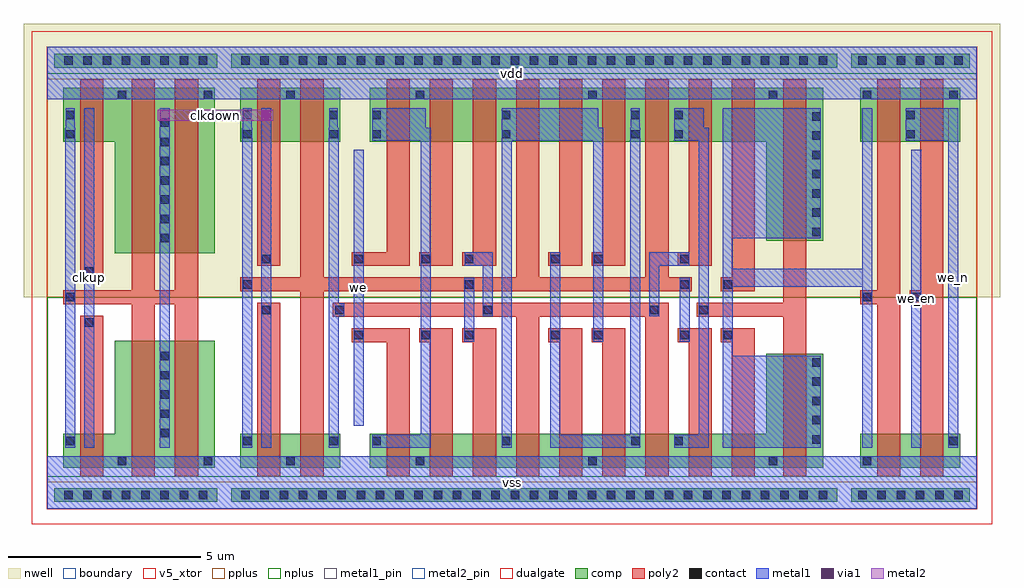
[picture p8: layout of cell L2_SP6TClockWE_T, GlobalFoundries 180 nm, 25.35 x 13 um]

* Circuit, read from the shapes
.subckt L2_SP6TClockWE_T clkdown clkup vdd vss we we_en we_n
XM1 vss clkup n1 vss nfet_05v0 w=0.88u l=0.6u
XM2 clkdown n1 vss vss nfet_05v0 w=3.295u l=0.6u m=2
XM3 vss clkdown n2 vss nfet_05v0 w=0.88u l=0.6u
XM4 n3 n2 vss vss nfet_05v0 w=0.88u l=0.6u
XM5 vss we n4 vss nfet_05v0 w=0.88u l=0.6u
XM6 n5 n4 vss vss nfet_05v0 w=0.88u l=0.6u
XM7 n6 n2 n5 vss nfet_05v0 w=0.88u l=0.6u
XM8 n7 n3 n6 vss nfet_05v0 w=0.88u l=0.6u
XM9 vss n8 n7 vss nfet_05v0 w=0.88u l=0.6u
XM10 n8 n6 vss vss nfet_05v0 w=0.88u l=0.6u
XM11 n9 n3 n8 vss nfet_05v0 w=0.88u l=0.6u
XM12 n10 n2 n9 vss nfet_05v0 w=0.88u l=0.6u
XM13 vss L2_nand2_x0_5v0_0/i0 n10 vss nfet_05v0 w=0.88u l=0.6u
XM14 L2_nand2_x0_5v0_0/i0 n9 vss vss nfet_05v0 w=2.965u l=0.6u
XM15 n11 L2_nand2_x0_5v0_0/i0 vss vss nfet_05v0 w=0.88u l=0.6u
XM16 we_n we_en n11 vss nfet_05v0 w=0.88u l=0.6u
XM17 vdd clkup n1 vdd pfet_05v0 w=1.4u l=0.6u
XM18 clkdown n1 vdd vdd pfet_05v0 w=4.295u l=0.6u m=2
XM19 vdd clkdown n2 vdd pfet_05v0 w=1.4u l=0.6u
XM20 n3 n2 vdd vdd pfet_05v0 w=1.4u l=0.6u
XM21 vdd we n4 vdd pfet_05v0 w=1.4u l=0.6u
XM22 n12 n4 vdd vdd pfet_05v0 w=1.4u l=0.6u
XM23 n6 n3 n12 vdd pfet_05v0 w=1.4u l=0.6u
XM24 n13 n2 n6 vdd pfet_05v0 w=1.4u l=0.6u
XM25 vdd n8 n13 vdd pfet_05v0 w=1.4u l=0.6u
XM26 n8 n6 vdd vdd pfet_05v0 w=1.4u l=0.6u
XM27 n9 n2 n8 vdd pfet_05v0 w=1.4u l=0.6u
XM28 n14 n3 n9 vdd pfet_05v0 w=1.4u l=0.6u
XM29 vdd L2_nand2_x0_5v0_0/i0 n14 vdd pfet_05v0 w=1.4u l=0.6u
XM30 L2_nand2_x0_5v0_0/i0 n9 vdd vdd pfet_05v0 w=3.965u l=0.6u
XM31 we_n L2_nand2_x0_5v0_0/i0 vdd vdd pfet_05v0 w=1.4u l=0.6u
XM32 vdd we_en we_n vdd pfet_05v0 w=1.4u l=0.6u
.ends

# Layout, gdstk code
import gdstk
lib = gdstk.Library(unit=1e-6, precision=1e-09)
def R(c, l, rs):  # rectangles x0, y0, x1, y1
    for r in rs: c.add(gdstk.rectangle(r[:2], r[2:], *l))
def A(c, l, x, y, w, h, nx, ny, dx, dy):  # array of equal rectangles
    R(c, l, [(x+i*dx, y+j*dy, x+i*dx+w, y+j*dy+h) for i in range(nx) for j in range(ny)])
def P(c, l, *ps):  # polygons
    for p in ps: c.add(gdstk.Polygon(p, *l))
boundary = (0, 0)
nwell = (21, 0)
comp = (22, 0)
poly2 = (30, 0)
pplus = (31, 0)
nplus = (32, 0)
contact = (33, 0)
metal1 = (34, 0)
metal1_pin = (34, 10)
via1 = (35, 0)
metal2 = (36, 0)
metal2_pin = (36, 10)
dualgate = (55, 0)
v5_xtor = (112, 1)

l2_nand2_x0_5v0 = lib.new_cell('L2_nand2_x0_5v0')
R(l2_nand2_x0_5v0, nwell, [(-0.6,5.5,4.05,12.6)])
R(l2_nand2_x0_5v0, comp, [(0.18,0.18,3.27,0.54), (0.42,1.065,3.02,1.945), (0.42,9.535,3.02,10.935), (0.18,11.46,3.27,11.82)])
P(l2_nand2_x0_5v0, poly2, [(1.98,0.845),(1.98,5.32),(1.7,5.32),(1.7,5.68),(1.98,5.68),(1.98,11.155),(2.58,11.155),(2.58,0.845)],
  [(0.86,0.845),(0.86,5.32),(0.42,5.32),(0.42,5.68),(0.86,5.68),(0.86,11.155),(1.46,11.155),(1.46,0.845)])
R(l2_nand2_x0_5v0, pplus, [(0,0,3.45,0.7), (0,5.5,3.45,11.165)])
R(l2_nand2_x0_5v0, nplus, [(0,0.835,3.45,5.5), (0,11.3,3.45,12)])
A(l2_nand2_x0_5v0, contact, 0.365, 0.25, 0.22, 0.22, 6, 2, 0.5, 11.28)
R(l2_nand2_x0_5v0, contact, [(0.49,1.135,0.71,1.355), (2.73,1.65,2.95,1.87), (0.49,5.39,0.71,5.61), (1.77,5.39,1.99,5.61), (1.61,9.62,1.83,9.84), (1.61,10.12,1.83,10.34), (0.49,10.645,0.71,10.865), (2.73,10.645,2.95,10.865)])
R(l2_nand2_x0_5v0, metal1, [(0,0,3.45,1.36), (0.47,1.59,0.73,10.41), (1.75,1.59,2.01,9.33), (0,10.64,3.45,12)])
P(l2_nand2_x0_5v0, metal1, [(2.71,1.59),(2.71,9.56),(1.605,9.56),(1.605,10.41),(2.97,10.41),(2.97,1.59)])
R(l2_nand2_x0_5v0, metal1_pin, [(0,0,3.45,1.36), (0.47,1.59,0.73,10.41), (1.75,1.59,2.01,9.33), (2.71,1.59,2.97,10.41), (0,10.64,3.45,12)])
R(l2_nand2_x0_5v0, dualgate, [(-0.4,-0.4,3.85,12.4)])
R(l2_nand2_x0_5v0, v5_xtor, [(-0.005,-0.005,3.455,12.005)])
l2_nand2_x0_5v0.add(gdstk.Label('nq', (2.84,6), layer=34, texttype=10))
l2_nand2_x0_5v0.add(gdstk.Label('i1', (1.88,5.46), layer=34, texttype=10))
l2_nand2_x0_5v0.add(gdstk.Label('i0', (0.6,6), layer=34, texttype=10))
l2_nand2_x0_5v0.add(gdstk.Label('vdd', (1.725,11.32), layer=34, texttype=10))
l2_nand2_x0_5v0.add(gdstk.Label('vss', (1.725,0.68), layer=34, texttype=10))

l2_dff_x1_5v0 = lib.new_cell('L2_dff_x1_5v0')
R(l2_dff_x1_5v0, nwell, [(-0.6,5.5,16.7,12.6)])
R(l2_dff_x1_5v0, comp, [(0.18,0.18,15.92,0.54), (0.42,1.065,3.02,1.945), (0.42,9.535,3.02,10.935), (0.18,11.46,15.92,11.82)])
P(l2_dff_x1_5v0, comp, [(3.78,1.065),(3.78,1.945),(14.08,1.945),(14.08,4.03),(15.56,4.03),(15.56,1.065)],
  [(14.08,6.97),(14.08,9.535),(3.78,9.535),(3.78,10.935),(15.56,10.935),(15.56,6.97)])
R(l2_dff_x1_5v0, poly2, [(0.86,0.845,1.46,5.35), (0.86,6.31,1.46,11.155)])
P(l2_dff_x1_5v0, poly2, [(12.9,5.65),(12.9,6.01),(13.18,6.01),(13.18,11.155),(13.78,11.155),(13.78,5.65)],
  [(14.52,0.845),(14.52,4.99),(12.27,4.99),(12.27,5.35),(14.52,5.35),(14.52,11.155),(15.12,11.155),(15.12,0.845)],
  [(4.22,0.845),(4.22,4.33),(3.31,4.33),(3.31,4.69),(4.82,4.69),(4.82,0.845)],
  [(7.58,0.845),(7.58,4.99),(2.82,4.99),(2.82,5.35),(11.54,5.35),(11.54,0.845),(10.94,0.845),(10.94,4.99),(8.18,4.99),(8.18,0.845)],
  [(5.06,6.31),(5.06,6.67),(5.34,6.67),(5.34,11.155),(5.94,11.155),(5.94,6.31)],
  [(6.18,6.31),(6.18,6.67),(6.46,6.67),(6.46,11.155),(7.06,11.155),(7.06,6.31)],
  [(8.42,6.31),(8.42,6.67),(8.7,6.67),(8.7,11.155),(9.3,11.155),(9.3,6.31)],
  [(9.54,6.31),(9.54,6.67),(9.82,6.67),(9.82,11.155),(10.42,11.155),(10.42,6.31)],
  [(11.78,6.31),(11.78,6.67),(12.06,6.67),(12.06,11.155),(12.66,11.155),(12.66,6.31)],
  [(5.34,0.845),(5.34,4.33),(5.06,4.33),(5.06,4.69),(5.94,4.69),(5.94,0.845)],
  [(6.46,0.845),(6.46,4.33),(6.18,4.33),(6.18,4.69),(7.06,4.69),(7.06,0.845)],
  [(8.7,0.845),(8.7,4.33),(8.42,4.33),(8.42,4.69),(9.3,4.69),(9.3,0.845)],
  [(9.82,0.845),(9.82,4.33),(9.54,4.33),(9.54,4.69),(10.42,4.69),(10.42,0.845)],
  [(12.06,0.845),(12.06,4.33),(11.78,4.33),(11.78,4.69),(12.66,4.69),(12.66,0.845)],
  [(13.18,0.845),(13.18,4.33),(12.9,4.33),(12.9,4.69),(13.78,4.69),(13.78,0.845)],
  [(3.31,6.31),(3.31,6.67),(4.22,6.67),(4.22,11.155),(4.82,11.155),(4.82,6.31)],
  [(1.98,0.845),(1.98,5.65),(0.42,5.65),(0.42,6.01),(1.98,6.01),(1.98,11.155),(2.58,11.155),(2.58,6.01),(7.58,6.01),(7.58,11.155),(8.18,11.155),(8.18,6.01),(10.94,6.01),(10.94,11.155),(11.54,11.155),(11.54,6.01),(12.14,6.01),(12.14,5.65),(2.58,5.65),(2.58,0.845)])
R(l2_dff_x1_5v0, pplus, [(0,0,16.1,0.7), (0,5.5,16.1,11.165)])
R(l2_dff_x1_5v0, nplus, [(0,0.835,16.1,5.5), (0,11.3,16.1,12)])
A(l2_dff_x1_5v0, contact, 0.44, 0.25, 0.22, 0.22, 31, 2, 0.5, 11.28)
A(l2_dff_x1_5v0, contact, 3.85, 1.65, 0.22, 0.22, 3, 2, 3.36, 7.97)
A(l2_dff_x1_5v0, contact, 15.27, 1.695, 0.22, 0.22, 1, 5, 0, 0.5)
A(l2_dff_x1_5v0, contact, 15.27, 7.085, 0.22, 0.22, 1, 7, 0, 0.5)
A(l2_dff_x1_5v0, contact, 3.85, 10.12, 0.22, 0.22, 3, 1, 3.36, 0)
R(l2_dff_x1_5v0, contact, [(1.61,1.135,1.83,1.355), (4.97,1.135,5.19,1.355), (9.45,1.135,9.67,1.355), (14.15,1.135,14.37,1.355), (0.49,1.65,0.71,1.87), (2.73,1.65,2.95,1.87), (11.69,1.65,11.91,1.87), (3.38,4.4,3.6,4.62), (5.13,4.4,5.35,4.62), (6.25,4.4,6.47,4.62), (8.49,4.4,8.71,4.62), (9.61,4.4,9.83,4.62), (11.85,4.4,12.07,4.62), (12.97,4.4,13.19,4.62), (0.98,5.06,1.2,5.28), (2.89,5.06,3.11,5.28), (6.74,5.06,6.96,5.28), (11.06,5.06,11.28,5.28), (12.34,5.06,12.56,5.28), (0.49,5.72,0.71,5.94), (6.25,5.72,6.47,5.94), (11.85,5.72,12.07,5.94), (12.97,5.72,13.19,5.94), (0.98,6.38,1.2,6.6), (3.38,6.38,3.6,6.6), (5.13,6.38,5.35,6.6), (6.25,6.38,6.47,6.6), (8.49,6.38,8.71,6.6), (9.61,6.38,9.83,6.6), (11.85,6.38,12.07,6.6), (0.49,9.62,0.71,9.84), (2.73,9.62,2.95,9.84), (11.69,9.62,11.91,9.84), (0.49,10.12,0.71,10.34), (2.73,10.12,2.95,10.34), (11.69,10.12,11.91,10.34), (1.61,10.645,1.83,10.865), (4.97,10.645,5.19,10.865), (9.45,10.645,9.67,10.865), (14.15,10.645,14.37,10.865)])
R(l2_dff_x1_5v0, metal1, [(0,0,16.1,1.36), (0.96,1.59,1.22,10.41), (3.36,2.16,3.62,9.33), (6.23,4.34,6.49,6), (11.83,4.34,12.09,6), (0,10.64,16.1,12)])
P(l2_dff_x1_5v0, metal1, [(11.685,1.59),(11.685,1.93),(12.32,1.93),(12.32,9.56),(11.685,9.56),(11.685,10.41),(12.45,10.41),(12.45,9.9),(12.58,9.9),(12.58,1.59)],
  [(8.47,1.59),(8.47,6.66),(8.73,6.66),(8.73,1.93),(10.55,1.93),(10.55,9.9),(10.565,9.9),(10.565,10.41),(10.795,10.41),(10.795,9.9),(10.81,9.9),(10.81,1.59)],
  [(3.845,1.59),(3.845,1.93),(5.11,1.93),(5.11,9.56),(3.845,9.56),(3.845,10.41),(5.24,10.41),(5.24,9.9),(5.37,9.9),(5.37,1.59)],
  [(2.71,1.59),(2.71,9.9),(2.725,9.9),(2.725,10.41),(2.955,10.41),(2.955,9.9),(2.97,9.9),(2.97,5.34),(3.115,5.34),(3.115,5),(2.97,5),(2.97,1.59)],
  [(12.95,1.59),(12.95,10.41),(15.495,10.41),(15.495,7.025),(13.21,7.025),(13.21,3.975),(15.495,3.975),(15.495,1.59)],
  [(11.04,5),(11.04,6.66),(12.075,6.66),(12.075,6.32),(11.3,6.32),(11.3,5)],
  [(6.72,5),(6.72,6.32),(6.245,6.32),(6.245,6.66),(6.98,6.66),(6.98,5)],
  [(7.205,1.59),(7.205,1.93),(7.21,1.93),(7.21,9.56),(7.205,9.56),(7.205,10.41),(9.72,10.41),(9.72,9.9),(9.85,9.9),(9.85,4.34),(9.59,4.34),(9.59,9.56),(7.47,9.56),(7.47,1.59)],
  [(0.47,1.59),(0.47,9.9),(0.485,9.9),(0.485,10.41),(0.715,10.41),(0.715,9.9),(0.73,9.9),(0.73,1.59)])
R(l2_dff_x1_5v0, metal1_pin, [(0,0,16.1,1.36), (0.96,1.59,1.22,10.41), (12.95,1.59,13.21,10.41), (3.36,2.16,3.62,9.33), (0,10.64,16.1,12)])
R(l2_dff_x1_5v0, dualgate, [(-0.4,-0.4,16.5,12.4)])
R(l2_dff_x1_5v0, v5_xtor, [(-0.005,-0.005,16.105,12.005)])
l2_dff_x1_5v0.add(gdstk.Label('q', (13.08,6), layer=34, texttype=10))
l2_dff_x1_5v0.add(gdstk.Label('i', (3.49,5.745), layer=34, texttype=10))
l2_dff_x1_5v0.add(gdstk.Label('clk', (1.09,6), layer=34, texttype=10))
l2_dff_x1_5v0.add(gdstk.Label('vss', (8.05,0.68), layer=34, texttype=10))
l2_dff_x1_5v0.add(gdstk.Label('vdd', (8.05,11.32), layer=34, texttype=10))

l2_buf_x2_5v0 = lib.new_cell('L2_buf_x2_5v0')
R(l2_buf_x2_5v0, nwell, [(-0.6,5.5,5.2,12.6)])
R(l2_buf_x2_5v0, comp, [(0.18,0.18,4.42,0.54), (0.18,11.46,4.42,11.82)])
P(l2_buf_x2_5v0, comp, [(1.76,6.64),(1.76,9.535),(0.42,9.535),(0.42,10.935),(4.36,10.935),(4.36,6.64)],
  [(0.42,1.065),(0.42,1.945),(1.76,1.945),(1.76,4.36),(4.36,4.36),(4.36,1.065)])
R(l2_buf_x2_5v0, poly2, [(0.86,0.845,1.46,5.02), (0.86,5.98,1.46,11.155)])
P(l2_buf_x2_5v0, poly2, [(2.2,0.845),(2.2,5.32),(0.42,5.32),(0.42,5.68),(2.2,5.68),(2.2,11.155),(2.8,11.155),(2.8,5.68),(3.32,5.68),(3.32,11.155),(3.92,11.155),(3.92,0.845),(3.32,0.845),(3.32,5.32),(2.8,5.32),(2.8,0.845)])
R(l2_buf_x2_5v0, pplus, [(0,0,4.6,0.7), (0,5.5,4.6,11.165)])
R(l2_buf_x2_5v0, nplus, [(0,0.835,4.6,5.5), (0,11.3,4.6,12)])
A(l2_buf_x2_5v0, contact, 0.44, 0.25, 0.22, 0.22, 8, 2, 0.5, 11.28)
A(l2_buf_x2_5v0, contact, 2.95, 1.86, 0.22, 0.22, 1, 5, 0, 0.5)
A(l2_buf_x2_5v0, contact, 2.95, 6.92, 0.22, 0.22, 1, 7, 0, 0.5)
R(l2_buf_x2_5v0, contact, [(1.83,1.135,2.05,1.355), (4.07,1.135,4.29,1.355), (0.49,1.65,0.71,1.87), (0.98,4.73,1.2,4.95), (0.49,5.39,0.71,5.61), (0.98,6.05,1.2,6.27), (0.49,9.62,0.71,9.84), (0.49,10.12,0.71,10.34), (1.83,10.645,2.05,10.865), (4.07,10.645,4.29,10.865)])
R(l2_buf_x2_5v0, metal1, [(0,0,4.6,1.36), (0.96,1.59,1.22,10.41), (2.93,1.59,3.19,10.41), (0,10.64,4.6,12)])
P(l2_buf_x2_5v0, metal1, [(0.47,1.59),(0.47,9.9),(0.485,9.9),(0.485,10.41),(0.715,10.41),(0.715,9.9),(0.73,9.9),(0.73,1.59)])
R(l2_buf_x2_5v0, metal1_pin, [(0,0,4.6,1.36), (0.96,1.59,1.22,10.41), (2.93,1.59,3.19,10.41), (0,10.64,4.6,12)])
R(l2_buf_x2_5v0, dualgate, [(-0.4,-0.4,5,12.4)])
R(l2_buf_x2_5v0, v5_xtor, [(-0.005,-0.005,4.605,12.005)])
l2_buf_x2_5v0.add(gdstk.Label('q', (3.06,6), layer=34, texttype=10))
l2_buf_x2_5v0.add(gdstk.Label('i', (1.09,6), layer=34, texttype=10))
l2_buf_x2_5v0.add(gdstk.Label('vss', (2.3,0.68), layer=34, texttype=10))
l2_buf_x2_5v0.add(gdstk.Label('vdd', (2.3,11.32), layer=34, texttype=10))

l2_sp6tclockwe_t = lib.new_cell('L2_SP6TClockWE_T')
R(l2_sp6tclockwe_t, boundary, [(0,0,24.15,12)])
R(l2_sp6tclockwe_t, metal1, [(0,0,24.15,1.36), (0.96,1.59,1.22,10.41), (22.45,1.59,22.71,9.33), (23.41,1.59,23.67,10.41), (7.96,2.16,8.22,9.33), (17.68,5.77,21.3,6.23), (2.93,10.03,3.19,10.41), (5.56,10.03,5.82,10.41), (0,10.64,24.15,12)])
R(l2_sp6tclockwe_t, metal1_pin, [(0,0,24.15,1.36), (0.96,1.59,1.22,10.41), (22.45,1.59,22.71,9.33), (23.41,1.59,23.67,10.41), (7.96,2.16,8.22,9.33), (0,10.64,24.15,12)])
R(l2_sp6tclockwe_t, via1, [(2.93,10.09,3.19,10.35), (5.56,10.09,5.82,10.35)])
R(l2_sp6tclockwe_t, metal2, [(2.87,10.08,5.88,10.36)])
R(l2_sp6tclockwe_t, metal2_pin, [(2.87,10.08,5.88,10.36)])
l2_sp6tclockwe_t.add(gdstk.Reference(l2_nand2_x0_5v0, (20.7,0)))
l2_sp6tclockwe_t.add(gdstk.Reference(l2_dff_x1_5v0, (4.6,0)))
l2_sp6tclockwe_t.add(gdstk.Reference(l2_buf_x2_5v0, (0,0)))
l2_sp6tclockwe_t.add(gdstk.Label('vdd', (12.075,11.32), layer=34, texttype=10))
l2_sp6tclockwe_t.add(gdstk.Label('vss', (12.075,0.68), layer=34, texttype=10))
l2_sp6tclockwe_t.add(gdstk.Label('we_n', (23.54,6), layer=34, texttype=10))
l2_sp6tclockwe_t.add(gdstk.Label('we_en', (22.58,5.46), layer=34, texttype=10))
l2_sp6tclockwe_t.add(gdstk.Label('we', (8.09,5.745), layer=34, texttype=10))
l2_sp6tclockwe_t.add(gdstk.Label('clkup', (1.09,6), layer=34, texttype=10))
l2_sp6tclockwe_t.add(gdstk.Label('clkdown', (4.375,10.22), layer=36, texttype=10))

lib.write_gds('L2_SP6TClockWE_T.gds')
